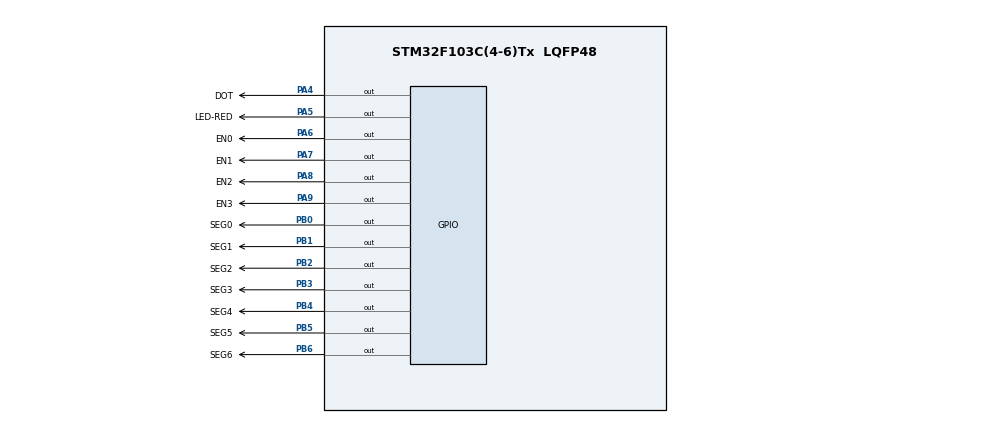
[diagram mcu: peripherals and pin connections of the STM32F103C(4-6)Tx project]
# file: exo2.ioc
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Mcu.Family=STM32F1
Mcu.Name=STM32F103C(4-6)Tx
Mcu.Package=LQFP48
NVIC.PriorityGroup=NVIC_PRIORITYGROUP_4
NVIC.TIM2_IRQn=true\:0\:0\:false\:false\:true\:true\:true
PA4.GPIO_Label=DOT
PA4.Signal=GPIO_Output
PA5.GPIO_Label=LED-RED
PA5.Signal=GPIO_Output
PA6.GPIO_Label=EN0
PA6.Signal=GPIO_Output
PA7.GPIO_Label=EN1
PA7.Signal=GPIO_Output
PA8.GPIO_Label=EN2
PA8.Signal=GPIO_Output
PA9.GPIO_Label=EN3
PA9.Signal=GPIO_Output
PB0.GPIO_Label=SEG0
PB0.Signal=GPIO_Output
PB1.GPIO_Label=SEG1
PB1.Signal=GPIO_Output
PB2.GPIO_Label=SEG2
PB2.Signal=GPIO_Output
PB3.GPIO_Label=SEG3
PB3.Signal=GPIO_Output
PB4.GPIO_Label=SEG4
PB4.Signal=GPIO_Output
PB5.GPIO_Label=SEG5
PB5.Signal=GPIO_Output
PB6.GPIO_Label=SEG6
PB6.Signal=GPIO_Output
ProjectManager.HeapSize=0x200
ProjectManager.StackSize=0x400
ProjectManager.TargetToolchain=STM32CubeIDE
RCC.APB1Freq_Value=8000000
RCC.APB2Freq_Value=8000000
TIM2.Period=9
TIM2.Prescaler=7999
VP_SYS_VS_ND.Mode=No_Debug
VP_TIM2_VS_ClockSourceINT.Mode=Internal
board=custom

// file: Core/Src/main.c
/* USER CODE BEGIN Header */
/**
  ******************************************************************************
  * @file           : main.c
  * @brief          : Main program body
  ******************************************************************************
  * @attention
  *
  * <h2><center>&copy; Copyright (c) 2022 STMicroelectronics.
  * All rights reserved.</center></h2>
  *
  * This software component is licensed by ST under BSD 3-Clause license,
  * the "License"; You may not use this file except in compliance with the
  * License. You may obtain a copy of the License at:
  *                        opensource.org/licenses/BSD-3-Clause
  *
  ******************************************************************************
  */
/* USER CODE END Header */
#include "main.h"

TIM_HandleTypeDef htim2;

void SystemClock_Config(void);
static void MX_GPIO_Init(void);
static void MX_TIM2_Init(void);

/* USER CODE BEGIN 0 */
void display7SEG(int num)
{
	if(num == 0)
	{
		HAL_GPIO_WritePin(SEG0_GPIO_Port, SEG0_Pin, GPIO_PIN_RESET);
		HAL_GPIO_WritePin(SEG1_GPIO_Port, SEG1_Pin, GPIO_PIN_RESET);
		HAL_GPIO_WritePin(SEG2_GPIO_Port, SEG2_Pin, GPIO_PIN_RESET);
		HAL_GPIO_WritePin(SEG3_GPIO_Port, SEG3_Pin, GPIO_PIN_RESET);
		HAL_GPIO_WritePin(SEG4_GPIO_Port, SEG4_Pin, GPIO_PIN_RESET);
		HAL_GPIO_WritePin(SEG5_GPIO_Port, SEG5_Pin, GPIO_PIN_RESET);
		HAL_GPIO_WritePin(SEG6_GPIO_Port, SEG6_Pin, GPIO_PIN_SET);
	}
	if(num == 1)
	{
		HAL_GPIO_WritePin(SEG0_GPIO_Port, SEG0_Pin, GPIO_PIN_SET);
		HAL_GPIO_WritePin(SEG1_GPIO_Port, SEG1_Pin, GPIO_PIN_RESET);
		HAL_GPIO_WritePin(SEG2_GPIO_Port, SEG2_Pin, GPIO_PIN_RESET);
		HAL_GPIO_WritePin(SEG3_GPIO_Port, SEG3_Pin, GPIO_PIN_SET);
		HAL_GPIO_WritePin(SEG4_GPIO_Port, SEG4_Pin, GPIO_PIN_SET);
		HAL_GPIO_WritePin(SEG5_GPIO_Port, SEG5_Pin, GPIO_PIN_SET);
		HAL_GPIO_WritePin(SEG6_GPIO_Port, SEG6_Pin, GPIO_PIN_SET);
	}
	if(num == 2)
	{
		HAL_GPIO_WritePin(SEG0_GPIO_Port, SEG0_Pin, GPIO_PIN_RESET);
		HAL_GPIO_WritePin(SEG1_GPIO_Port, SEG1_Pin, GPIO_PIN_RESET);
		HAL_GPIO_WritePin(SEG2_GPIO_Port, SEG2_Pin, GPIO_PIN_SET);
		HAL_GPIO_WritePin(SEG3_GPIO_Port, SEG3_Pin, GPIO_PIN_RESET);
		HAL_GPIO_WritePin(SEG4_GPIO_Port, SEG4_Pin, GPIO_PIN_RESET);
		HAL_GPIO_WritePin(SEG5_GPIO_Port, SEG5_Pin, GPIO_PIN_SET);
		HAL_GPIO_WritePin(SEG6_GPIO_Port, SEG6_Pin, GPIO_PIN_RESET);

	}
	if(num == 3)
	{
		HAL_GPIO_WritePin(SEG0_GPIO_Port, SEG0_Pin, GPIO_PIN_RESET);
		HAL_GPIO_WritePin(SEG1_GPIO_Port, SEG1_Pin, GPIO_PIN_RESET);
		HAL_GPIO_WritePin(SEG2_GPIO_Port, SEG2_Pin, GPIO_PIN_RESET);
		HAL_GPIO_WritePin(SEG3_GPIO_Port, SEG3_Pin, GPIO_PIN_RESET);
		HAL_GPIO_WritePin(SEG4_GPIO_Port, SEG4_Pin, GPIO_PIN_SET);
		HAL_GPIO_WritePin(SEG5_GPIO_Port, SEG5_Pin, GPIO_PIN_SET);
		HAL_GPIO_WritePin(SEG6_GPIO_Port, SEG6_Pin, GPIO_PIN_RESET);
	}
	if(num == 4)
	{
		HAL_GPIO_WritePin(SEG0_GPIO_Port, SEG0_Pin, GPIO_PIN_SET);
		HAL_GPIO_WritePin(SEG1_GPIO_Port, SEG1_Pin, GPIO_PIN_RESET);
		HAL_GPIO_WritePin(SEG2_GPIO_Port, SEG2_Pin, GPIO_PIN_RESET);
		HAL_GPIO_WritePin(SEG3_GPIO_Port, SEG3_Pin, GPIO_PIN_SET);
		HAL_GPIO_WritePin(SEG4_GPIO_Port, SEG4_Pin, GPIO_PIN_SET);
		HAL_GPIO_WritePin(SEG5_GPIO_Port, SEG5_Pin, GPIO_PIN_RESET);
		HAL_GPIO_WritePin(SEG6_GPIO_Port, SEG6_Pin, GPIO_PIN_RESET);
	}
	if(num == 5)
	{
		HAL_GPIO_WritePin(SEG0_GPIO_Port, SEG0_Pin, GPIO_PIN_RESET);
		HAL_GPIO_WritePin(SEG1_GPIO_Port, SEG1_Pin, GPIO_PIN_SET);
		HAL_GPIO_WritePin(SEG2_GPIO_Port, SEG2_Pin, GPIO_PIN_RESET);
		HAL_GPIO_WritePin(SEG3_GPIO_Port, SEG3_Pin, GPIO_PIN_RESET);
		HAL_GPIO_WritePin(SEG4_GPIO_Port, SEG4_Pin, GPIO_PIN_SET);
		HAL_GPIO_WritePin(SEG5_GPIO_Port, SEG5_Pin, GPIO_PIN_RESET);
		HAL_GPIO_WritePin(SEG6_GPIO_Port, SEG6_Pin, GPIO_PIN_RESET);
	}
	if(num == 6)
	{
		HAL_GPIO_WritePin(SEG0_GPIO_Port, SEG0_Pin, GPIO_PIN_RESET);
		HAL_GPIO_WritePin(SEG1_GPIO_Port, SEG1_Pin, GPIO_PIN_SET);
		HAL_GPIO_WritePin(SEG2_GPIO_Port, SEG2_Pin, GPIO_PIN_RESET);
		HAL_GPIO_WritePin(SEG3_GPIO_Port, SEG3_Pin, GPIO_PIN_RESET);
		HAL_GPIO_WritePin(SEG4_GPIO_Port, SEG4_Pin, GPIO_PIN_RESET);
		HAL_GPIO_WritePin(SEG5_GPIO_Port, SEG5_Pin, GPIO_PIN_RESET);
		HAL_GPIO_WritePin(SEG6_GPIO_Port, SEG6_Pin, GPIO_PIN_RESET);

	}
	if(num == 7)
	{
		HAL_GPIO_WritePin(SEG0_GPIO_Port, SEG0_Pin, GPIO_PIN_RESET);
		HAL_GPIO_WritePin(SEG1_GPIO_Port, SEG1_Pin, GPIO_PIN_RESET);
		HAL_GPIO_WritePin(SEG2_GPIO_Port, SEG2_Pin, GPIO_PIN_RESET);
		HAL_GPIO_WritePin(SEG3_GPIO_Port, SEG3_Pin, GPIO_PIN_SET);
		HAL_GPIO_WritePin(SEG4_GPIO_Port, SEG4_Pin, GPIO_PIN_SET);
		HAL_GPIO_WritePin(SEG5_GPIO_Port, SEG5_Pin, GPIO_PIN_SET);
		HAL_GPIO_WritePin(SEG6_GPIO_Port, SEG6_Pin, GPIO_PIN_SET);
	}
	if(num == 8)
	{
		HAL_GPIO_WritePin(SEG0_GPIO_Port, SEG0_Pin, GPIO_PIN_RESET);
		HAL_GPIO_WritePin(SEG1_GPIO_Port, SEG1_Pin, GPIO_PIN_RESET);
		HAL_GPIO_WritePin(SEG2_GPIO_Port, SEG2_Pin, GPIO_PIN_RESET);
		HAL_GPIO_WritePin(SEG3_GPIO_Port, SEG3_Pin, GPIO_PIN_RESET);
		HAL_GPIO_WritePin(SEG4_GPIO_Port, SEG4_Pin, GPIO_PIN_RESET);
		HAL_GPIO_WritePin(SEG5_GPIO_Port, SEG5_Pin, GPIO_PIN_RESET);
		HAL_GPIO_WritePin(SEG6_GPIO_Port, SEG6_Pin, GPIO_PIN_RESET);
	}
	if(num == 9)
	{
		HAL_GPIO_WritePin(SEG0_GPIO_Port, SEG0_Pin, GPIO_PIN_RESET);
		HAL_GPIO_WritePin(SEG1_GPIO_Port, SEG1_Pin, GPIO_PIN_RESET);
		HAL_GPIO_WritePin(SEG2_GPIO_Port, SEG2_Pin, GPIO_PIN_RESET);
		HAL_GPIO_WritePin(SEG3_GPIO_Port, SEG3_Pin, GPIO_PIN_RESET);
		HAL_GPIO_WritePin(SEG4_GPIO_Port, SEG4_Pin, GPIO_PIN_SET);
		HAL_GPIO_WritePin(SEG5_GPIO_Port, SEG5_Pin, GPIO_PIN_RESET);
		HAL_GPIO_WritePin(SEG6_GPIO_Port, SEG6_Pin, GPIO_PIN_RESET);
	}
}
/* USER CODE END 0 */

int main(void)
{

  /* MCU Configuration--------------------------------------------------------*/

  /* Reset of all peripherals, Initializes the Flash interface and the Systick. */
  HAL_Init();

  /* Configure the system clock */
  SystemClock_Config();

  /* Initialize all configured peripherals */
  MX_GPIO_Init();
  MX_TIM2_Init();
  /* USER CODE BEGIN 2 */
  HAL_TIM_Base_Start_IT(&htim2);
  /* USER CODE END 2 */

  /* Infinite loop */
  while (1)
  {

  }
}

void SystemClock_Config(void)
{
  RCC_OscInitTypeDef RCC_OscInitStruct = {0};
  RCC_ClkInitTypeDef RCC_ClkInitStruct = {0};

  /** Initializes the RCC Oscillators according to the specified parameters
  * in the RCC_OscInitTypeDef structure.
  */
  RCC_OscInitStruct.OscillatorType = RCC_OSCILLATORTYPE_HSI;
  RCC_OscInitStruct.HSIState = RCC_HSI_ON;
  RCC_OscInitStruct.HSICalibrationValue = RCC_HSICALIBRATION_DEFAULT;
  RCC_OscInitStruct.PLL.PLLState = RCC_PLL_NONE;
  if (HAL_RCC_OscConfig(&RCC_OscInitStruct) != HAL_OK)
  {
    Error_Handler();
  }
  /** Initializes the CPU, AHB and APB buses clocks
  */
  RCC_ClkInitStruct.ClockType = RCC_CLOCKTYPE_HCLK|RCC_CLOCKTYPE_SYSCLK
                              |RCC_CLOCKTYPE_PCLK1|RCC_CLOCKTYPE_PCLK2;
  RCC_ClkInitStruct.SYSCLKSource = RCC_SYSCLKSOURCE_HSI;
  RCC_ClkInitStruct.AHBCLKDivider = RCC_SYSCLK_DIV1;
  RCC_ClkInitStruct.APB1CLKDivider = RCC_HCLK_DIV1;
  RCC_ClkInitStruct.APB2CLKDivider = RCC_HCLK_DIV1;

  if (HAL_RCC_ClockConfig(&RCC_ClkInitStruct, FLASH_LATENCY_0) != HAL_OK)
  {
    Error_Handler();
  }
}

static void MX_TIM2_Init(void)
{

  TIM_ClockConfigTypeDef sClockSourceConfig = {0};
  TIM_MasterConfigTypeDef sMasterConfig = {0};

  htim2.Instance = TIM2;
  htim2.Init.Prescaler = 7999;
  htim2.Init.CounterMode = TIM_COUNTERMODE_UP;
  htim2.Init.Period = 9;
  htim2.Init.ClockDivision = TIM_CLOCKDIVISION_DIV1;
  htim2.Init.AutoReloadPreload = TIM_AUTORELOAD_PRELOAD_DISABLE;
  if (HAL_TIM_Base_Init(&htim2) != HAL_OK)
  {
    Error_Handler();
  }
  sClockSourceConfig.ClockSource = TIM_CLOCKSOURCE_INTERNAL;
  if (HAL_TIM_ConfigClockSource(&htim2, &sClockSourceConfig) != HAL_OK)
  {
    Error_Handler();
  }
  sMasterConfig.MasterOutputTrigger = TIM_TRGO_RESET;
  sMasterConfig.MasterSlaveMode = TIM_MASTERSLAVEMODE_DISABLE;
  if (HAL_TIMEx_MasterConfigSynchronization(&htim2, &sMasterConfig) != HAL_OK)
  {
    Error_Handler();
  }

}

static void MX_GPIO_Init(void)
{
  GPIO_InitTypeDef GPIO_InitStruct = {0};

  /* GPIO Ports Clock Enable */
  __HAL_RCC_GPIOA_CLK_ENABLE();
  __HAL_RCC_GPIOB_CLK_ENABLE();

  /*Configure GPIO pin Output Level */
  HAL_GPIO_WritePin(GPIOA, DOT_Pin|LED_RED_Pin|EN0_Pin|EN1_Pin
                          |EN2_Pin|EN3_Pin, GPIO_PIN_RESET);

  /*Configure GPIO pin Output Level */
  HAL_GPIO_WritePin(GPIOB, SEG0_Pin|SEG1_Pin|SEG2_Pin|SEG3_Pin
                          |SEG4_Pin|SEG5_Pin|SEG6_Pin, GPIO_PIN_RESET);

  /*Configure GPIO pins : DOT_Pin LED_RED_Pin EN0_Pin EN1_Pin
                           EN2_Pin EN3_Pin */
  GPIO_InitStruct.Pin = DOT_Pin|LED_RED_Pin|EN0_Pin|EN1_Pin
                          |EN2_Pin|EN3_Pin;
  GPIO_InitStruct.Mode = GPIO_MODE_OUTPUT_PP;
  GPIO_InitStruct.Pull = GPIO_NOPULL;
  GPIO_InitStruct.Speed = GPIO_SPEED_FREQ_LOW;
  HAL_GPIO_Init(GPIOA, &GPIO_InitStruct);

  /*Configure GPIO pins : SEG0_Pin SEG1_Pin SEG2_Pin SEG3_Pin
                           SEG4_Pin SEG5_Pin SEG6_Pin */
  GPIO_InitStruct.Pin = SEG0_Pin|SEG1_Pin|SEG2_Pin|SEG3_Pin
                          |SEG4_Pin|SEG5_Pin|SEG6_Pin;
  GPIO_InitStruct.Mode = GPIO_MODE_OUTPUT_PP;
  GPIO_InitStruct.Pull = GPIO_NOPULL;
  GPIO_InitStruct.Speed = GPIO_SPEED_FREQ_LOW;
  HAL_GPIO_Init(GPIOB, &GPIO_InitStruct);

}

/* USER CODE BEGIN 4 */
// initial counter
int counter_7seg = 50;
int counter_led_red = 100;
int status_7seg = 0;

HAL_TIM_PeriodElapsedCallback(TIM_HandleTypeDef* htim)
{
	// control LED-RED and DOT-LED blink every one second
	if(counter_led_red > 0) counter_led_red --;
	if(counter_led_red <= 0)
	{
		counter_led_red = 100;
		HAL_GPIO_TogglePin(LED_RED_GPIO_Port, LED_RED_Pin);//toggle LED-RED
		HAL_GPIO_TogglePin(DOT_GPIO_Port, DOT_Pin);//toggle DOT-LED
	}

	// control 4 led 7-SEG
	if(counter_7seg > 0) counter_7seg --;
	if(counter_7seg <= 0)
	{
		counter_7seg = 50;
		switch(status_7seg)
		{
		case 0:// turn on first 7-SEG
		{
			HAL_GPIO_WritePin(EN0_GPIO_Port, EN0_Pin, GPIO_PIN_RESET);
			HAL_GPIO_WritePin(EN1_GPIO_Port, EN1_Pin, GPIO_PIN_SET);
			HAL_GPIO_WritePin(EN2_GPIO_Port, EN2_Pin, GPIO_PIN_SET);
			HAL_GPIO_WritePin(EN3_GPIO_Port, EN3_Pin, GPIO_PIN_SET);
			display7SEG(1);// display number 1 at the first 7-SEG
			status_7seg = 1;
			break;
		}
		case 1:// turn on second 7-SEG
		{
			HAL_GPIO_WritePin(EN0_GPIO_Port, EN0_Pin, GPIO_PIN_SET);
			HAL_GPIO_WritePin(EN1_GPIO_Port, EN1_Pin, GPIO_PIN_RESET);
			HAL_GPIO_WritePin(EN2_GPIO_Port, EN2_Pin, GPIO_PIN_SET);
			HAL_GPIO_WritePin(EN3_GPIO_Port, EN3_Pin, GPIO_PIN_SET);
			display7SEG(2);// display number 2 at the second 7-SEG
			status_7seg = 2;
			break;
		}
		case 2:// turn on third 7-SEG
		{
			HAL_GPIO_WritePin(EN0_GPIO_Port, EN0_Pin, GPIO_PIN_SET);
			HAL_GPIO_WritePin(EN1_GPIO_Port, EN1_Pin, GPIO_PIN_SET);
			HAL_GPIO_WritePin(EN2_GPIO_Port, EN2_Pin, GPIO_PIN_RESET);
			HAL_GPIO_WritePin(EN3_GPIO_Port, EN3_Pin, GPIO_PIN_SET);
			display7SEG(3);// display number 3 at the third 7-SEG
			status_7seg = 3;
			break;
		}
		case 3:// turn on fourth 7-SEG
		{
			HAL_GPIO_WritePin(EN0_GPIO_Port, EN0_Pin, GPIO_PIN_SET);
			HAL_GPIO_WritePin(EN1_GPIO_Port, EN1_Pin, GPIO_PIN_SET);
			HAL_GPIO_WritePin(EN2_GPIO_Port, EN2_Pin, GPIO_PIN_SET);
			HAL_GPIO_WritePin(EN3_GPIO_Port, EN3_Pin, GPIO_PIN_RESET);
			display7SEG(0);// display number 0 at the fourth 7-SEG
			status_7seg = 0;
			break;
		}
		default:
			break;
		}
	}

}

/* USER CODE END 4 */

void Error_Handler(void)
{
  __disable_irq();
  while (1)
  {
  }
}

/************************ (C) COPYRIGHT STMicroelectronics *****END OF FILE****/
